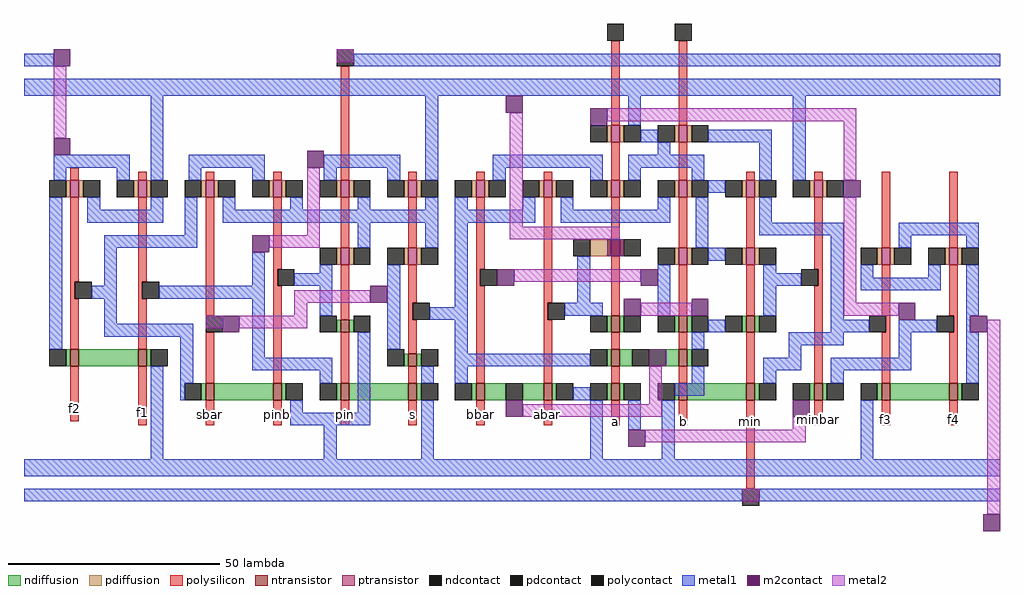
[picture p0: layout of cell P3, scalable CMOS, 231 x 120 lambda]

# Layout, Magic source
magic
tech scmos
<< ntransistor >>
rect -6 12 -4 16
rect 10 12 12 16
rect 58 20 60 23
rect 74 12 76 15
rect 122 20 124 24
rect 138 20 140 24
rect 154 20 156 24
rect 122 12 124 16
rect 138 12 140 16
rect 26 4 28 8
rect 42 4 44 8
rect 58 4 60 8
rect 74 4 76 8
rect 90 4 92 8
rect 106 4 108 8
rect 122 4 124 8
rect 138 4 140 8
rect 154 4 156 8
rect 170 4 172 8
rect 186 4 188 8
rect 202 4 204 8
<< ptransistor >>
rect 122 65 124 69
rect 138 65 140 69
rect -6 52 -4 56
rect 10 52 12 56
rect 26 52 28 56
rect 42 52 44 56
rect 58 52 60 56
rect 74 52 76 56
rect 90 52 92 56
rect 106 52 108 56
rect 122 52 124 56
rect 138 52 140 56
rect 154 52 156 56
rect 170 52 172 56
rect 58 36 60 40
rect 74 36 76 40
rect 122 38 124 42
rect 138 36 140 40
rect 154 36 156 40
rect 186 36 188 40
rect 202 36 204 40
<< ndiffusion >>
rect -7 12 -6 16
rect -4 12 10 16
rect 12 12 13 16
rect 57 20 58 23
rect 60 20 61 23
rect 73 12 74 15
rect 76 12 77 15
rect 121 20 122 24
rect 124 20 125 24
rect 137 20 138 24
rect 140 20 141 24
rect 153 20 154 24
rect 156 20 157 24
rect 121 12 122 16
rect 124 12 127 16
rect 131 12 138 16
rect 140 12 141 16
rect 25 4 26 8
rect 28 4 42 8
rect 44 4 45 8
rect 57 4 58 8
rect 60 4 74 8
rect 76 4 77 8
rect 89 4 90 8
rect 92 4 97 8
rect 101 4 106 8
rect 108 4 109 8
rect 121 4 122 8
rect 124 4 125 8
rect 137 4 138 8
rect 140 4 154 8
rect 156 4 157 8
rect 169 4 170 8
rect 172 4 173 8
rect 185 4 186 8
rect 188 4 202 8
rect 204 4 205 8
<< pdiffusion >>
rect 121 65 122 69
rect 124 65 125 69
rect 137 65 138 69
rect 140 65 141 69
rect -7 52 -6 56
rect -4 52 -3 56
rect 9 52 10 56
rect 12 52 13 56
rect 25 52 26 56
rect 28 52 29 56
rect 41 52 42 56
rect 44 52 45 56
rect 57 52 58 56
rect 60 52 61 56
rect 73 52 74 56
rect 76 52 77 56
rect 89 52 90 56
rect 92 52 93 56
rect 105 52 106 56
rect 108 52 109 56
rect 121 52 122 56
rect 124 52 125 56
rect 137 52 138 56
rect 140 52 141 56
rect 153 52 154 56
rect 156 52 157 56
rect 169 52 170 56
rect 172 52 173 56
rect 57 36 58 40
rect 60 36 61 40
rect 73 36 74 40
rect 76 36 77 40
rect 117 38 122 42
rect 124 38 125 42
rect 137 36 138 40
rect 140 36 141 40
rect 153 36 154 40
rect 156 36 157 40
rect 185 36 186 40
rect 188 36 189 40
rect 201 36 202 40
rect 204 36 205 40
<< ndcontact >>
rect -11 12 -7 16
rect 13 12 17 16
rect 53 20 57 24
rect 61 20 65 24
rect 69 12 73 16
rect 77 12 81 16
rect 117 20 121 24
rect 125 20 129 24
rect 133 20 137 24
rect 141 20 145 24
rect 149 20 153 24
rect 157 20 161 24
rect 117 12 121 16
rect 127 12 131 16
rect 141 12 145 16
rect 21 4 25 8
rect 45 4 49 8
rect 53 4 57 8
rect 77 4 81 8
rect 85 4 89 8
rect 97 4 101 8
rect 109 4 113 8
rect 117 4 121 8
rect 125 4 129 8
rect 133 4 137 8
rect 157 4 161 8
rect 165 4 169 8
rect 173 4 177 8
rect 181 4 185 8
rect 205 4 209 8
<< pdcontact >>
rect 117 65 121 69
rect 125 65 129 69
rect 133 65 137 69
rect 141 65 145 69
rect -11 52 -7 56
rect -3 52 1 56
rect 5 52 9 56
rect 13 52 17 56
rect 21 52 25 56
rect 29 52 33 56
rect 37 52 41 56
rect 45 52 49 56
rect 53 52 57 56
rect 61 52 65 56
rect 69 52 73 56
rect 77 52 81 56
rect 85 52 89 56
rect 93 52 97 56
rect 101 52 105 56
rect 109 52 113 56
rect 117 52 121 56
rect 125 52 129 56
rect 133 52 137 56
rect 141 52 145 56
rect 149 52 153 56
rect 157 52 161 56
rect 165 52 169 56
rect 173 52 177 56
rect 53 36 57 40
rect 61 36 65 40
rect 69 36 73 40
rect 77 36 81 40
rect 113 38 117 42
rect 125 38 129 42
rect 133 36 137 40
rect 141 36 145 40
rect 149 36 153 40
rect 157 36 161 40
rect 181 36 185 40
rect 189 36 193 40
rect 197 36 201 40
rect 205 36 209 40
<< polysilicon >>
rect -6 56 -4 59
rect 10 56 12 58
rect 26 56 28 58
rect 42 56 44 58
rect 58 56 60 83
rect 122 69 124 89
rect 138 69 140 89
rect 74 56 76 58
rect 90 56 92 58
rect 106 56 108 58
rect 122 56 124 65
rect 138 56 140 65
rect 154 56 156 58
rect 170 56 172 58
rect -6 32 -4 52
rect 10 32 12 52
rect -6 28 -5 32
rect 10 28 11 32
rect -6 16 -4 28
rect 10 16 12 28
rect 26 24 28 52
rect 42 35 44 52
rect 58 40 60 52
rect 74 40 76 52
rect 42 31 43 35
rect -6 -1 -4 12
rect 10 -2 12 12
rect 26 8 28 20
rect 42 8 44 31
rect 58 23 60 36
rect 74 27 76 36
rect 90 35 92 52
rect 90 31 91 35
rect 74 23 75 27
rect 58 8 60 20
rect 74 15 76 23
rect 74 8 76 12
rect 90 8 92 31
rect 106 27 108 52
rect 122 42 124 52
rect 138 40 140 52
rect 154 40 156 52
rect 106 23 107 27
rect 122 24 124 38
rect 138 24 140 36
rect 154 24 156 36
rect 170 35 172 52
rect 186 40 188 58
rect 202 40 204 58
rect 171 31 172 35
rect 106 8 108 23
rect 122 16 124 20
rect 138 16 140 20
rect 122 8 124 12
rect 138 8 140 12
rect 154 8 156 20
rect 170 8 172 31
rect 186 24 188 36
rect 202 24 204 36
rect 187 20 188 24
rect 203 20 204 24
rect 186 8 188 20
rect 202 8 204 20
rect 26 -2 28 4
rect 42 -2 44 4
rect 58 -2 60 4
rect 74 -2 76 4
rect 90 -2 92 4
rect 106 -2 108 4
rect 122 -2 124 4
rect 138 -2 140 4
rect 154 -17 156 4
rect 170 -2 172 4
rect 186 -2 188 4
rect 202 -2 204 4
<< polycontact >>
rect 121 89 125 93
rect 137 89 141 93
rect 57 83 61 87
rect -5 28 -1 32
rect 11 28 15 32
rect 43 31 47 35
rect 26 20 30 24
rect 91 31 95 35
rect 75 23 79 27
rect 107 23 111 27
rect 167 31 171 35
rect 183 20 187 24
rect 199 20 203 24
rect 153 -21 157 -17
<< metal1 >>
rect -17 83 -10 86
rect 61 83 214 86
rect -17 76 214 80
rect -10 59 8 62
rect -10 56 -7 59
rect 5 56 8 59
rect 13 56 16 76
rect 22 59 40 62
rect 54 59 72 62
rect 22 56 25 59
rect 37 56 40 59
rect 54 56 57 59
rect 69 56 72 59
rect 78 56 81 76
rect 126 69 129 76
rect 129 65 133 68
rect 145 65 160 68
rect 133 62 136 65
rect 94 59 120 62
rect 94 56 97 59
rect 117 56 120 59
rect 126 59 144 62
rect 126 56 129 59
rect 141 56 144 59
rect 157 56 160 65
rect 165 56 168 76
rect -11 16 -8 52
rect -2 49 1 52
rect 13 49 16 52
rect -2 46 16 49
rect 21 43 24 52
rect 30 49 33 52
rect 46 49 49 52
rect 62 49 65 52
rect 78 49 81 52
rect 30 46 81 49
rect 2 40 24 43
rect 2 31 5 40
rect 62 40 65 46
rect 78 40 81 46
rect -1 28 5 31
rect 37 31 40 39
rect 145 53 149 56
rect 85 49 88 52
rect 101 49 104 52
rect 85 46 104 49
rect 110 49 113 52
rect 133 49 136 52
rect 110 46 136 49
rect 53 34 56 36
rect 47 31 56 34
rect 15 28 40 31
rect 2 22 5 28
rect 2 19 23 22
rect 13 -10 16 12
rect 20 8 23 19
rect 37 14 40 28
rect 53 24 56 31
rect 37 11 56 14
rect 53 8 56 11
rect 20 4 21 8
rect 46 1 49 4
rect 62 1 65 20
rect 69 16 72 36
rect 85 26 88 46
rect 142 40 145 52
rect 157 46 160 52
rect 157 43 177 46
rect 114 27 117 38
rect 145 37 149 40
rect 79 23 88 26
rect 111 24 120 27
rect 85 15 88 23
rect 133 24 136 36
rect 158 34 161 36
rect 158 31 167 34
rect 158 24 161 31
rect 145 20 149 23
rect 174 23 177 43
rect 190 43 209 46
rect 190 40 193 43
rect 206 40 209 43
rect 181 33 184 36
rect 197 33 200 36
rect 181 30 200 33
rect 174 20 183 23
rect 206 24 209 36
rect 190 20 199 23
rect 206 20 207 24
rect 141 16 144 20
rect 164 17 177 20
rect 85 12 117 15
rect 164 14 167 17
rect 190 14 193 20
rect 46 -2 65 1
rect 77 8 80 12
rect 85 8 88 12
rect 141 8 144 12
rect 158 11 167 14
rect 174 11 193 14
rect 158 8 161 11
rect 174 8 177 11
rect 206 8 209 20
rect 113 4 117 7
rect 137 5 144 8
rect 54 -10 57 -2
rect 77 -10 80 4
rect 117 -10 120 4
rect 126 -3 129 4
rect 134 -10 137 4
rect 181 -10 184 4
rect -17 -14 214 -10
rect -17 -20 153 -17
rect 157 -20 214 -17
<< m2contact >>
rect -10 83 -6 87
rect -10 62 -6 66
rect 50 59 54 63
rect 97 72 101 76
rect 117 69 121 73
rect 37 39 41 43
rect 177 52 181 56
rect 30 20 34 24
rect 65 27 69 31
rect 121 38 125 42
rect 95 31 99 35
rect 129 31 133 35
rect 125 24 129 28
rect 141 24 145 28
rect 190 23 194 27
rect 207 20 211 24
rect 131 12 135 16
rect 97 0 101 4
rect 126 -7 130 -3
rect 165 0 169 4
rect 210 -27 214 -23
<< metal2 >>
rect 57 84 61 87
rect -10 66 -7 83
rect 50 43 53 59
rect 41 40 53 43
rect 98 45 101 72
rect 121 70 180 73
rect 177 56 180 70
rect 98 42 124 45
rect 99 32 129 35
rect 47 27 65 30
rect 47 24 50 27
rect 129 24 141 27
rect 177 27 180 52
rect 177 24 190 27
rect 26 21 30 24
rect 34 21 50 24
rect 131 3 134 12
rect 101 0 134 3
rect 165 -3 168 0
rect 130 -6 168 -3
rect 153 -20 157 -17
rect 211 -23 214 23
<< labels >>
rlabel polysilicon 26 -1 28 2 1 sbar
rlabel polysilicon 42 -1 44 2 1 pinb
rlabel polysilicon 58 -1 60 2 1 pin
rlabel polysilicon 74 -1 76 2 1 s
rlabel polysilicon 90 -1 92 2 1 bbar
rlabel polysilicon 106 -1 108 2 1 abar
rlabel polysilicon 122 -2 124 0 1 a
rlabel polysilicon 138 -2 140 0 1 b
rlabel polysilicon 154 -2 156 0 1 min
rlabel polysilicon 170 -2 172 1 1 minbar
rlabel polysilicon 186 -2 188 1 1 f3
rlabel polysilicon 202 -2 204 1 1 f4
rlabel polysilicon 10 -1 12 3 1 f1
rlabel polysilicon -6 0 -4 4 1 f2
<< end >>
